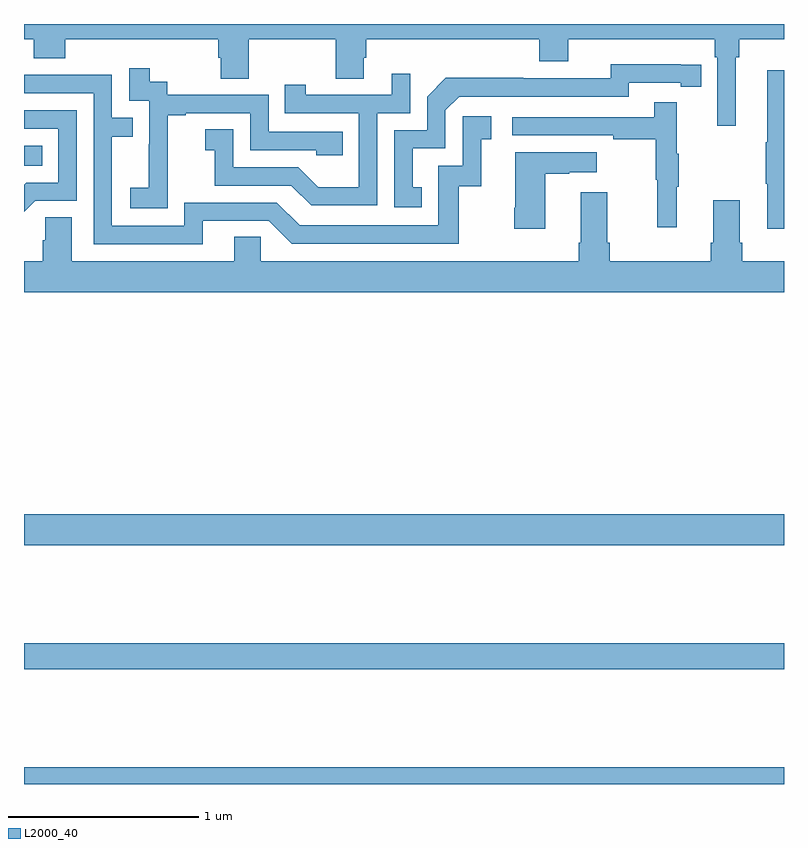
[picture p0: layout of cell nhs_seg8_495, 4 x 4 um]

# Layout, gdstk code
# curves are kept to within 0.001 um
import gdstk
lib = gdstk.Library(unit=1e-6, precision=1e-09)
def R(c, l, rs):  # rectangles x0, y0, x1, y1
    for r in rs: c.add(gdstk.rectangle(r[:2], r[2:], *l))
def P(c, l, *ps):  # polygons
    for p in ps: c.add(gdstk.Polygon(p, *l))
L2000_40 = (2000, 40)

nhs_seg8_495 = lib.new_cell('nhs_seg8_495')
R(nhs_seg8_495, L2000_40, [(143,1125.9,147,1125.988), (143,1126.504,147,1126.64), (143,1127.156,147,1127.32), (143,1129.154,143.096,1129.258)])
P(nhs_seg8_495, L2000_40, [(143,1129.82),(143.051,1129.82),(143.051,1129.721),(143.216,1129.721),(143.216,1129.82),(144.023,1129.82),(144.023,1129.722),(144.035,1129.722),(144.035,1129.612),(144.183,1129.612),(144.183,1129.82),(144.64,1129.82),(144.64,1129.612),(144.787,1129.612),(144.787,1129.722),(144.8,1129.722),(144.8,1129.82),(145.712,1129.82),(145.712,1129.703),(145.864,1129.703),(145.864,1129.82),(146.636,1129.82),(146.636,1129.724),(146.649,1129.724),(146.649,1129.365),(146.746,1129.365),(146.746,1129.724),(146.765,1129.724),(146.765,1129.82),(147,1129.82),(147,1129.9),(143,1129.9)],
  [(145.094,1129.041),(145.045,1129.041),(145.045,1129.245),(145.218,1129.245),(145.218,1129.446),(145.29,1129.518),(146.184,1129.518),(146.184,1129.59),(146.456,1129.59),(146.456,1129.57),(146.564,1129.57),(146.564,1129.686),(146.088,1129.687),(146.088,1129.614),(145.628,1129.614),(145.628,1129.616),(145.22,1129.616),(145.122,1129.518),(145.122,1129.341),(144.948,1129.341),(144.948,1128.936),(145.094,1128.936)],
  [(143.757,1129.135),(143.756,1129.135),(143.756,1129.419),(143.851,1129.419),(143.851,1129.431),(144.192,1129.431),(144.192,1129.236),(144.537,1129.236),(144.537,1129.209),(144.677,1129.209),(144.677,1129.332),(144.288,1129.332),(144.288,1129.527),(143.754,1129.527),(143.754,1129.596),(143.662,1129.596),(143.662,1129.666),(143.553,1129.666),(143.553,1129.497),(143.658,1129.497),(143.658,1129.268),(143.657,1129.268),(143.657,1129.039),(143.559,1129.039),(143.559,1128.929),(143.757,1128.929)],
  [(147,1129.657),(146.912,1129.657),(146.912,1129.277),(146.905,1129.277),(146.905,1129.06),(146.912,1129.06),(146.912,1128.822),(147,1128.822)],
  [(144.858,1129.431),(145.032,1129.431),(145.032,1129.639),(144.935,1129.639),(144.935,1129.527),(144.484,1129.527),(144.484,1129.579),(144.373,1129.579),(144.373,1129.431),(144.762,1129.431),(144.762,1129.042),(144.548,1129.042),(144.444,1129.146),(144.102,1129.146),(144.102,1129.345),(143.955,1129.345),(143.955,1129.235),(144.004,1129.235),(144.004,1129.05),(144.407,1129.05),(144.512,1128.945),(144.858,1128.945)],
  [(143.941,1128.864),(144.288,1128.864),(144.408,1128.744),(145.288,1128.744),(145.288,1129.047),(145.406,1129.047),(145.406,1129.293),(145.459,1129.293),(145.459,1129.414),(145.308,1129.414),(145.308,1129.155),(145.179,1129.155),(145.179,1128.84),(144.45,1128.84),(144.33,1128.96),(143.844,1128.96),(143.844,1128.837),(143.463,1128.837),(143.463,1129.306),(143.573,1129.306),(143.573,1129.407),(143.463,1129.407),(143.463,1129.632),(143,1129.632),(143,1129.536),(143.367,1129.536),(143.367,1128.741),(143.941,1128.741)],
  [(146.435,1129.043),(146.446,1129.043),(146.446,1129.217),(146.435,1129.217),(146.435,1129.489),(146.317,1129.489),(146.317,1129.41),(145.569,1129.41),(145.569,1129.314),(146.101,1129.314),(146.101,1129.294),(146.325,1129.294),(146.325,1129.08),(146.332,1129.08),(146.332,1128.831),(146.435,1128.831)],
  [(143.058,1128.969),(143.277,1128.969),(143.277,1129.446),(143,1129.446),(143,1129.35),(143.181,1129.35),(143.181,1129.065),(143.012,1129.065),(143,1129.053),(143,1128.912)],
  [(145.744,1129.111),(145.871,1129.111),(145.871,1129.121),(146.014,1129.121),(146.014,1129.225),(145.586,1129.225),(145.586,1128.934),(145.579,1128.934),(145.579,1128.822),(145.744,1128.822)],
  [(147,1128.652),(146.78,1128.652),(146.78,1128.748),(146.767,1128.748),(146.767,1128.973),(146.627,1128.973),(146.627,1128.748),(146.615,1128.748),(146.615,1128.652),(146.084,1128.652),(146.084,1128.748),(146.071,1128.748),(146.071,1129.015),(145.931,1129.015),(145.931,1128.748),(145.919,1128.748),(145.919,1128.652),(144.246,1128.652),(144.246,1128.779),(144.107,1128.779),(144.107,1128.652),(143.251,1128.652),(143.251,1128.884),(143.112,1128.884),(143.112,1128.761),(143.099,1128.761),(143.099,1128.652),(143,1128.652),(143,1128.488),(147,1128.488)])

lib.write_gds('nhs_seg8_495.gds')
